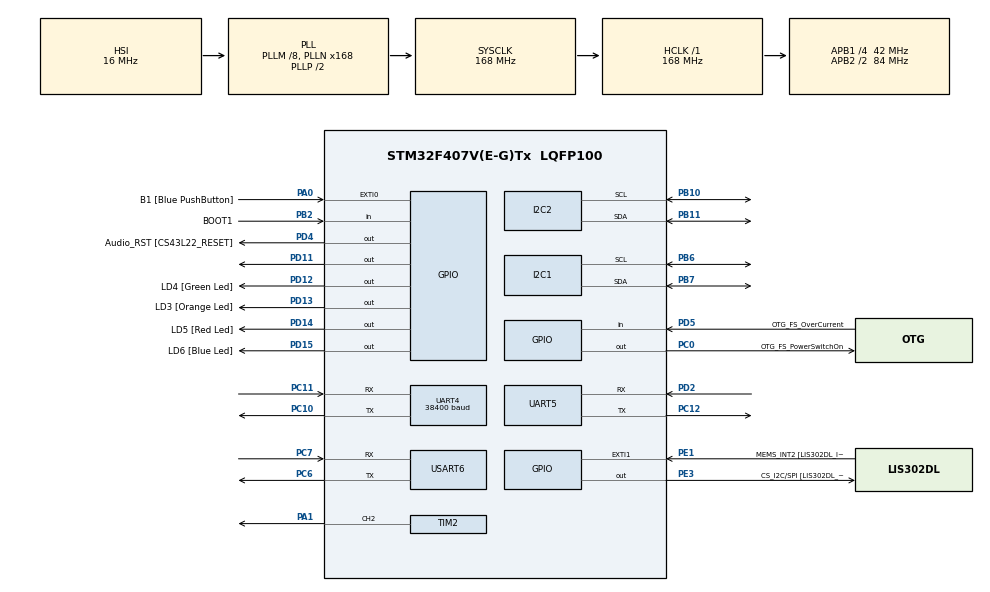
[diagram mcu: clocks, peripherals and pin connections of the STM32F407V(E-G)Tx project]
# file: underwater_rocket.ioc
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Dma.I2C1_RX.0.Direction=DMA_PERIPH_TO_MEMORY
Dma.I2C1_RX.0.FIFOMode=DMA_FIFOMODE_DISABLE
Dma.I2C1_RX.0.Instance=DMA1_Stream5
Dma.I2C1_RX.0.MemDataAlignment=DMA_MDATAALIGN_BYTE
Dma.I2C1_RX.0.MemInc=DMA_MINC_ENABLE
Dma.I2C1_RX.0.Mode=DMA_NORMAL
Dma.I2C1_RX.0.PeriphDataAlignment=DMA_PDATAALIGN_BYTE
Dma.I2C1_RX.0.PeriphInc=DMA_PINC_DISABLE
Dma.I2C1_RX.0.Priority=DMA_PRIORITY_LOW
Dma.I2C1_TX.1.Direction=DMA_MEMORY_TO_PERIPH
Dma.I2C1_TX.1.FIFOMode=DMA_FIFOMODE_DISABLE
Dma.I2C1_TX.1.Instance=DMA1_Stream6
Dma.I2C1_TX.1.MemDataAlignment=DMA_MDATAALIGN_BYTE
Dma.I2C1_TX.1.MemInc=DMA_MINC_ENABLE
Dma.I2C1_TX.1.Mode=DMA_NORMAL
Dma.I2C1_TX.1.PeriphDataAlignment=DMA_PDATAALIGN_BYTE
Dma.I2C1_TX.1.PeriphInc=DMA_PINC_DISABLE
Dma.I2C1_TX.1.Priority=DMA_PRIORITY_LOW
Dma.I2C2_RX.2.Direction=DMA_PERIPH_TO_MEMORY
Dma.I2C2_RX.2.FIFOMode=DMA_FIFOMODE_DISABLE
Dma.I2C2_RX.2.Instance=DMA1_Stream3
Dma.I2C2_RX.2.MemDataAlignment=DMA_MDATAALIGN_BYTE
Dma.I2C2_RX.2.MemInc=DMA_MINC_ENABLE
Dma.I2C2_RX.2.Mode=DMA_NORMAL
Dma.I2C2_RX.2.PeriphDataAlignment=DMA_PDATAALIGN_BYTE
Dma.I2C2_RX.2.PeriphInc=DMA_PINC_DISABLE
Dma.I2C2_RX.2.Priority=DMA_PRIORITY_LOW
Dma.I2C2_TX.3.Direction=DMA_MEMORY_TO_PERIPH
Dma.I2C2_TX.3.FIFOMode=DMA_FIFOMODE_DISABLE
Dma.I2C2_TX.3.Instance=DMA1_Stream7
Dma.I2C2_TX.3.MemDataAlignment=DMA_MDATAALIGN_BYTE
Dma.I2C2_TX.3.MemInc=DMA_MINC_ENABLE
Dma.I2C2_TX.3.Mode=DMA_NORMAL
Dma.I2C2_TX.3.PeriphDataAlignment=DMA_PDATAALIGN_BYTE
Dma.I2C2_TX.3.PeriphInc=DMA_PINC_DISABLE
Dma.I2C2_TX.3.Priority=DMA_PRIORITY_LOW
Dma.Request0=I2C1_RX
Dma.Request1=I2C1_TX
Dma.Request2=I2C2_RX
Dma.Request3=I2C2_TX
Dma.Request4=UART5_RX
Dma.Request5=UART4_TX
Dma.Request6=UART4_RX
Dma.Request7=USART6_RX
Dma.Request8=USART6_TX
Dma.UART4_RX.6.Direction=DMA_PERIPH_TO_MEMORY
Dma.UART4_RX.6.FIFOMode=DMA_FIFOMODE_DISABLE
Dma.UART4_RX.6.Instance=DMA1_Stream2
Dma.UART4_RX.6.MemDataAlignment=DMA_MDATAALIGN_BYTE
Dma.UART4_RX.6.MemInc=DMA_MINC_ENABLE
Dma.UART4_RX.6.Mode=DMA_NORMAL
Dma.UART4_RX.6.PeriphDataAlignment=DMA_PDATAALIGN_BYTE
Dma.UART4_RX.6.PeriphInc=DMA_PINC_DISABLE
Dma.UART4_RX.6.Priority=DMA_PRIORITY_LOW
Dma.UART4_TX.5.Direction=DMA_MEMORY_TO_PERIPH
Dma.UART4_TX.5.FIFOMode=DMA_FIFOMODE_DISABLE
Dma.UART4_TX.5.Instance=DMA1_Stream4
Dma.UART4_TX.5.MemDataAlignment=DMA_MDATAALIGN_BYTE
Dma.UART4_TX.5.MemInc=DMA_MINC_ENABLE
Dma.UART4_TX.5.Mode=DMA_NORMAL
Dma.UART4_TX.5.PeriphDataAlignment=DMA_PDATAALIGN_BYTE
Dma.UART4_TX.5.PeriphInc=DMA_PINC_DISABLE
Dma.UART4_TX.5.Priority=DMA_PRIORITY_LOW
Dma.UART5_RX.4.Direction=DMA_PERIPH_TO_MEMORY
Dma.UART5_RX.4.FIFOMode=DMA_FIFOMODE_DISABLE
Dma.UART5_RX.4.Instance=DMA1_Stream0
Dma.UART5_RX.4.MemDataAlignment=DMA_MDATAALIGN_BYTE
Dma.UART5_RX.4.MemInc=DMA_MINC_ENABLE
Dma.UART5_RX.4.Mode=DMA_NORMAL
Dma.UART5_RX.4.PeriphDataAlignment=DMA_PDATAALIGN_BYTE
Dma.UART5_RX.4.PeriphInc=DMA_PINC_DISABLE
Dma.UART5_RX.4.Priority=DMA_PRIORITY_LOW
Dma.USART6_RX.7.Direction=DMA_PERIPH_TO_MEMORY
Dma.USART6_RX.7.FIFOMode=DMA_FIFOMODE_DISABLE
Dma.USART6_RX.7.Instance=DMA2_Stream1
Dma.USART6_RX.7.MemDataAlignment=DMA_MDATAALIGN_BYTE
Dma.USART6_RX.7.MemInc=DMA_MINC_ENABLE
Dma.USART6_RX.7.Mode=DMA_NORMAL
Dma.USART6_RX.7.PeriphDataAlignment=DMA_PDATAALIGN_BYTE
Dma.USART6_RX.7.PeriphInc=DMA_PINC_DISABLE
Dma.USART6_RX.7.Priority=DMA_PRIORITY_LOW
Dma.USART6_TX.8.Direction=DMA_MEMORY_TO_PERIPH
Dma.USART6_TX.8.FIFOMode=DMA_FIFOMODE_DISABLE
Dma.USART6_TX.8.Instance=DMA2_Stream6
Dma.USART6_TX.8.MemDataAlignment=DMA_MDATAALIGN_BYTE
Dma.USART6_TX.8.MemInc=DMA_MINC_ENABLE
Dma.USART6_TX.8.Mode=DMA_NORMAL
Dma.USART6_TX.8.PeriphDataAlignment=DMA_PDATAALIGN_BYTE
Dma.USART6_TX.8.PeriphInc=DMA_PINC_DISABLE
Dma.USART6_TX.8.Priority=DMA_PRIORITY_LOW
Mcu.Family=STM32F4
Mcu.Name=STM32F407V(E-G)Tx
Mcu.Package=LQFP100
NVIC.DMA1_Stream0_IRQn=true\:10\:0\:true\:false\:true\:false\:true\:true
NVIC.DMA1_Stream2_IRQn=true\:10\:0\:true\:false\:true\:false\:true\:true
NVIC.DMA1_Stream3_IRQn=true\:10\:0\:true\:false\:true\:false\:true\:true
NVIC.DMA1_Stream4_IRQn=true\:10\:0\:true\:false\:true\:false\:true\:true
NVIC.DMA1_Stream5_IRQn=true\:10\:0\:false\:false\:true\:false\:true\:true
NVIC.DMA1_Stream6_IRQn=true\:10\:0\:true\:false\:true\:false\:true\:true
NVIC.DMA1_Stream7_IRQn=true\:10\:0\:true\:false\:true\:false\:true\:true
NVIC.DMA2_Stream1_IRQn=true\:10\:0\:true\:false\:true\:false\:true\:true
NVIC.DMA2_Stream6_IRQn=true\:10\:0\:true\:false\:true\:false\:true\:true
NVIC.I2C1_ER_IRQn=true\:10\:0\:true\:false\:true\:true\:true\:true
NVIC.I2C1_EV_IRQn=true\:10\:0\:true\:false\:true\:true\:true\:true
NVIC.I2C2_ER_IRQn=true\:10\:0\:true\:false\:true\:true\:true\:true
NVIC.I2C2_EV_IRQn=true\:10\:0\:true\:false\:true\:true\:true\:true
NVIC.PriorityGroup=NVIC_PRIORITYGROUP_4
NVIC.TIM6_DAC_IRQn=true\:0\:0\:true\:false\:true\:false\:true\:true
NVIC.TimeBase=TIM6_DAC_IRQn
NVIC.TimeBaseIP=TIM6
NVIC.UART4_IRQn=true\:10\:0\:true\:false\:true\:true\:true\:true
NVIC.UART5_IRQn=true\:10\:0\:true\:false\:true\:true\:true\:true
NVIC.USART6_IRQn=true\:10\:0\:true\:false\:true\:true\:true\:true
PA0-WKUP.GPIO_Label=B1 [Blue PushButton]
PA0-WKUP.Signal=GPXTI0
PA1.Signal=S_TIM2_CH2
PA13.GPIO_Label=SWDIO
PA13.Mode=Trace_Asynchronous_SW
PA13.Signal=SYS_JTMS-SWDIO
PA14.GPIO_Label=SWCLK
PA14.Mode=Trace_Asynchronous_SW
PA14.Signal=SYS_JTCK-SWCLK
PA2.Signal=USART2_TX
PA3.Signal=USART2_RX
PA4.GPIO_Label=I2S3_WS [CS43L22_LRCK]
PA4.GPIO_Mode=GPIO_MODE_AF_PP
PA4.GPIO_PuPd=GPIO_NOPULL
PA4.GPIO_Speed=GPIO_SPEED_FREQ_LOW
PA4.Signal=I2S3_WS
PA5.GPIO_Label=SPI1_SCK [LIS302DL_SCL/SPC]
PA5.GPIO_Mode=GPIO_MODE_AF_PP
PA5.GPIO_PuPd=GPIO_NOPULL
PA5.GPIO_Speed=GPIO_SPEED_FREQ_LOW
PA5.Signal=SPI1_SCK
PA6.GPIO_Label=SPI1_MISO [LIS302DL_SDO]
PA6.GPIO_Mode=GPIO_MODE_AF_PP
PA6.GPIO_PuPd=GPIO_NOPULL
PA6.GPIO_Speed=GPIO_SPEED_FREQ_LOW
PA6.Signal=SPI1_MISO
PA7.GPIO_Label=SPI1_MOSI [LIS302DL_SDA/SDI/SDO]
PA7.GPIO_Mode=GPIO_MODE_AF_PP
PA7.GPIO_PuPd=GPIO_NOPULL
PA7.GPIO_Speed=GPIO_SPEED_FREQ_LOW
PA7.Signal=SPI1_MOSI
PB10.Mode=I2C
PB10.Signal=I2C2_SCL
PB11.Mode=I2C
PB11.Signal=I2C2_SDA
PB2.GPIO_Label=BOOT1
PB2.GPIO_Mode=GPIO_MODE_INPUT
PB2.GPIO_PuPd=GPIO_NOPULL
PB2.Signal=GPIO_Input
PB3.GPIO_Label=SWO
PB3.Mode=Trace_Asynchronous_SW
PB3.Signal=SYS_JTDO-SWO
PB6.GPIO_Pu=GPIO_PULLUP
PB6.Mode=I2C
PB6.Signal=I2C1_SCL
PB7.GPIO_Pu=GPIO_PULLUP
PB7.Mode=I2C
PB7.Signal=I2C1_SDA
PC0.GPIO_Label=OTG_FS_PowerSwitchOn
PC0.GPIO_PuPd=GPIO_NOPULL
PC0.GPIO_Speed=GPIO_SPEED_FREQ_LOW
PC0.PinState=GPIO_PIN_SET
PC0.Signal=GPIO_Output
PC10.GPIO_ModeDefaultPP=GPIO_MODE_AF_OD
PC10.Mode=Asynchronous
PC10.Signal=UART4_TX
PC11.Mode=Asynchronous
PC11.Signal=UART4_RX
PC12.Mode=Asynchronous
PC12.Signal=UART5_TX
PC14-OSC32_IN.GPIO_Label=PC14-OSC32_IN
PC14-OSC32_IN.Signal=RCC_OSC32_IN
PC15-OSC32_OUT.GPIO_Label=PC15-OSC32_OUT
PC15-OSC32_OUT.Signal=RCC_OSC32_OUT
PC3.GPIO_Label=PDM_OUT [MP45DT02_DOUT]
PC3.GPIO_Mode=GPIO_MODE_AF_PP
PC3.GPIO_PuPd=GPIO_NOPULL
PC3.GPIO_Speed=GPIO_SPEED_FREQ_LOW
PC3.Signal=I2S2_SD
PC6.Mode=Asynchronous
PC6.Signal=USART6_TX
PC7.Mode=Asynchronous
PC7.Signal=USART6_RX
PD11.Signal=GPIO_Output
PD12.GPIO_Label=LD4 [Green Led]
PD12.GPIO_PuPd=GPIO_NOPULL
PD12.GPIO_Speed=GPIO_SPEED_FREQ_LOW
PD12.Signal=GPIO_Output
PD13.GPIO_Label=LD3 [Orange Led]
PD13.GPIO_PuPd=GPIO_NOPULL
PD13.GPIO_Speed=GPIO_SPEED_FREQ_LOW
PD13.Signal=GPIO_Output
PD14.GPIO_Label=LD5 [Red Led]
PD14.GPIO_PuPd=GPIO_NOPULL
PD14.GPIO_Speed=GPIO_SPEED_FREQ_LOW
PD14.Signal=GPIO_Output
PD15.GPIO_Label=LD6 [Blue Led]
PD15.GPIO_PuPd=GPIO_NOPULL
PD15.GPIO_Speed=GPIO_SPEED_FREQ_LOW
PD15.Signal=GPIO_Output
PD2.Mode=Asynchronous
PD2.Signal=UART5_RX
PD4.GPIO_Label=Audio_RST [CS43L22_RESET]
PD4.GPIO_PuPd=GPIO_NOPULL
PD4.GPIO_Speed=GPIO_SPEED_FREQ_LOW
PD4.Signal=GPIO_Output
PD5.GPIO_Label=OTG_FS_OverCurrent
PD5.GPIO_Mode=GPIO_MODE_INPUT
PD5.GPIO_PuPd=GPIO_NOPULL
PD5.Signal=GPIO_Input
PE1.GPIO_Label=MEMS_INT2 [LIS302DL_INT2]
PE1.GPIO_ModeDefaultEXTI=GPIO_MODE_EVT_RISING
PE1.GPIO_PuPd=GPIO_NOPULL
PE1.Signal=GPXTI1
PE3.GPIO_Label=CS_I2C/SPI [LIS302DL_CS_I2C/SPI]
PE3.GPIO_PuPd=GPIO_NOPULL
PE3.GPIO_Speed=GPIO_SPEED_FREQ_LOW
PE3.Signal=GPIO_Output
PH0-OSC_IN.GPIO_Label=PH0-OSC_IN
PH0-OSC_IN.Signal=RCC_OSC_IN
PH1-OSC_OUT.GPIO_Label=PH1-OSC_OUT
PH1-OSC_OUT.Signal=RCC_OSC_OUT
ProjectManager.HeapSize=0x200
ProjectManager.StackSize=0x400
ProjectManager.TargetToolchain=STM32CubeIDE
RCC.48MHZClocksFreq_Value=48000000
RCC.AHBFreq_Value=168000000
RCC.APB1CLKDivider=RCC_HCLK_DIV4
RCC.APB1Freq_Value=42000000
RCC.APB1TimFreq_Value=84000000
RCC.APB2CLKDivider=RCC_HCLK_DIV2
RCC.APB2Freq_Value=84000000
RCC.APB2TimFreq_Value=168000000
RCC.CortexFreq_Value=168000000
RCC.HCLKFreq_Value=168000000
RCC.HSE_VALUE=8000000
RCC.HSI_VALUE=16000000
RCC.LSE_VALUE=32768
RCC.PLLM=8
RCC.PLLN=168
RCC.PLLQ=7
RCC.SYSCLKFreq_VALUE=168000000
RCC.SYSCLKSource=RCC_SYSCLKSOURCE_PLLCLK
RCC.VCOOutputFreq_Value=336000000
SH.S_TIM2_CH2.0=TIM2_CH2,PWM Generation2 CH2
TIM2.AutoReloadPreload=TIM_AUTORELOAD_PRELOAD_ENABLE
TIM2.Channel-PWM\ Generation2\ CH2=TIM_CHANNEL_2
TIM2.Period=20000 - 1
TIM2.Prescaler=84 - 1
UART4.BaudRate=38400
UART4.Mode=MODE_TX_RX
UART4.VirtualMode=Asynchronous
UART5.VirtualMode=Asynchronous
USART6.Parity=PARITY_EVEN
USART6.VirtualMode=VM_ASYNC
USART6.WordLength=WORDLENGTH_9B
VP_SYS_VS_tim6.Mode=TIM6
VP_TIM2_VS_ClockSourceINT.Mode=Internal
board=STM32F407G-DISC1

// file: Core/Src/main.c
/* USER CODE BEGIN Header */
/**
  ******************************************************************************
  * @file           : main.c
  * @brief          : Main program body
  ******************************************************************************
  * @attention
  *
  * <h2><center>&copy; Copyright (c) 2021 STMicroelectronics.
  * All rights reserved.</center></h2>
  *
  * This software component is licensed by ST under BSD 3-Clause license,
  * the "License"; You may not use this file except in compliance with the
  * License. You may obtain a copy of the License at:
  *                        opensource.org/licenses/BSD-3-Clause
  *
  ******************************************************************************
  */
/* USER CODE END Header */
#include "main.h"

/* USER CODE BEGIN Includes */
#include <stdio.h>
#include <stdlib.h>
#include "FreeRTOS.h"
#include "task.h"
#include "semphr.h"
#include "string.h"
#include "maestro.h"
#include "tasks_config.h"
/* USER CODE END Includes */

I2C_HandleTypeDef hi2c1;
I2C_HandleTypeDef hi2c2;
DMA_HandleTypeDef hdma_i2c1_rx;
DMA_HandleTypeDef hdma_i2c1_tx;
DMA_HandleTypeDef hdma_i2c2_rx;
DMA_HandleTypeDef hdma_i2c2_tx;

TIM_HandleTypeDef htim2;

UART_HandleTypeDef huart4;
UART_HandleTypeDef huart5;
UART_HandleTypeDef huart6;
DMA_HandleTypeDef hdma_uart4_tx;
DMA_HandleTypeDef hdma_uart4_rx;
DMA_HandleTypeDef hdma_uart5_rx;
DMA_HandleTypeDef hdma_usart6_rx;
DMA_HandleTypeDef hdma_usart6_tx;

/* USER CODE BEGIN PV */
#define DWT_CTRL    (*(volatile uint32_t*)0xE0001000)
/* USER CODE END PV */

void SystemClock_Config(void);
static void MX_GPIO_Init(void);
static void MX_DMA_Init(void);
static void MX_I2C1_Init(void);
static void MX_UART4_Init(void);
static void MX_I2C2_Init(void);
static void MX_UART5_Init(void);
static void MX_TIM2_Init(void);
static void MX_USART6_UART_Init(void);
/* USER CODE BEGIN PFP */

extern void Callback_BNO_DMA_Rx();
extern void MS5837_DMA_Callback();
extern void Maestro_CallBack();
extern void SEGGER_UART_init(uint32_t);
extern void CommRx_CallBack();
extern void CommTx_CallBack();

/* USER CODE END PFP */

int main(void)
{

  /* MCU Configuration--------------------------------------------------------*/

  /* Reset of all peripherals, Initializes the Flash interface and the Systick. */
  HAL_Init();

  /* USER CODE BEGIN Init */
  HAL_NVIC_SetPriorityGrouping(NVIC_PRIORITYGROUP_4);
  /* USER CODE END Init */

  /* Configure the system clock */
  SystemClock_Config();

  /* Initialize all configured peripherals */
  MX_GPIO_Init();
  MX_DMA_Init();
  MX_I2C1_Init();
  MX_UART4_Init();
  MX_I2C2_Init();
  MX_UART5_Init();
  MX_TIM2_Init();
  MX_USART6_UART_Init();
  /* USER CODE BEGIN 2 */
  HAL_NVIC_SetPriority(DMA2_Stream7_IRQn, 10, 0);

  //Enable the CYCCNT counter.
  DWT_CTRL |= ( 1 << 0);
 SEGGER_UART_init(500000);
 SEGGER_SYSVIEW_Conf();

 System_Tasks_Init();
  //if the control comes here, then the launch of the scheduler hasA failed due to
  //insufficient memory in heap

  HAL_GPIO_WritePin(GPIOD, GPIO_PIN_12, GPIO_PIN_SET);
  HAL_GPIO_WritePin(GPIOD, GPIO_PIN_13, GPIO_PIN_SET);
  HAL_GPIO_WritePin(GPIOD, GPIO_PIN_14, GPIO_PIN_SET);

  /* USER CODE END 2 */

  /* Infinite loop */
  while (1)
  {

  }
}

void SystemClock_Config(void)
{
  RCC_OscInitTypeDef RCC_OscInitStruct = {0};
  RCC_ClkInitTypeDef RCC_ClkInitStruct = {0};

  /** Configure the main internal regulator output voltage
  */
  __HAL_RCC_PWR_CLK_ENABLE();
  __HAL_PWR_VOLTAGESCALING_CONFIG(PWR_REGULATOR_VOLTAGE_SCALE1);

  /** Initializes the RCC Oscillators according to the specified parameters
  * in the RCC_OscInitTypeDef structure.
  */
  RCC_OscInitStruct.OscillatorType = RCC_OSCILLATORTYPE_HSI;
  RCC_OscInitStruct.HSIState = RCC_HSI_ON;
  RCC_OscInitStruct.HSICalibrationValue = RCC_HSICALIBRATION_DEFAULT;
  RCC_OscInitStruct.PLL.PLLState = RCC_PLL_ON;
  RCC_OscInitStruct.PLL.PLLSource = RCC_PLLSOURCE_HSI;
  RCC_OscInitStruct.PLL.PLLM = 8;
  RCC_OscInitStruct.PLL.PLLN = 168;
  RCC_OscInitStruct.PLL.PLLP = RCC_PLLP_DIV2;
  RCC_OscInitStruct.PLL.PLLQ = 7;
  if (HAL_RCC_OscConfig(&RCC_OscInitStruct) != HAL_OK)
  {
    Error_Handler();
  }

  /** Initializes the CPU, AHB and APB buses clocks
  */
  RCC_ClkInitStruct.ClockType = RCC_CLOCKTYPE_HCLK|RCC_CLOCKTYPE_SYSCLK
                              |RCC_CLOCKTYPE_PCLK1|RCC_CLOCKTYPE_PCLK2;
  RCC_ClkInitStruct.SYSCLKSource = RCC_SYSCLKSOURCE_PLLCLK;
  RCC_ClkInitStruct.AHBCLKDivider = RCC_SYSCLK_DIV1;
  RCC_ClkInitStruct.APB1CLKDivider = RCC_HCLK_DIV4;
  RCC_ClkInitStruct.APB2CLKDivider = RCC_HCLK_DIV2;

  if (HAL_RCC_ClockConfig(&RCC_ClkInitStruct, FLASH_LATENCY_5) != HAL_OK)
  {
    Error_Handler();
  }
}

static void MX_I2C1_Init(void)
{

  hi2c1.Instance = I2C1;
  hi2c1.Init.ClockSpeed = 100000;
  hi2c1.Init.DutyCycle = I2C_DUTYCYCLE_2;
  hi2c1.Init.OwnAddress1 = 0;
  hi2c1.Init.AddressingMode = I2C_ADDRESSINGMODE_7BIT;
  hi2c1.Init.DualAddressMode = I2C_DUALADDRESS_DISABLE;
  hi2c1.Init.OwnAddress2 = 0;
  hi2c1.Init.GeneralCallMode = I2C_GENERALCALL_DISABLE;
  hi2c1.Init.NoStretchMode = I2C_NOSTRETCH_DISABLE;
  if (HAL_I2C_Init(&hi2c1) != HAL_OK)
  {
    Error_Handler();
  }

}

static void MX_I2C2_Init(void)
{

  hi2c2.Instance = I2C2;
  hi2c2.Init.ClockSpeed = 100000;
  hi2c2.Init.DutyCycle = I2C_DUTYCYCLE_2;
  hi2c2.Init.OwnAddress1 = 0;
  hi2c2.Init.AddressingMode = I2C_ADDRESSINGMODE_7BIT;
  hi2c2.Init.DualAddressMode = I2C_DUALADDRESS_DISABLE;
  hi2c2.Init.OwnAddress2 = 0;
  hi2c2.Init.GeneralCallMode = I2C_GENERALCALL_DISABLE;
  hi2c2.Init.NoStretchMode = I2C_NOSTRETCH_DISABLE;
  if (HAL_I2C_Init(&hi2c2) != HAL_OK)
  {
    Error_Handler();
  }

}

static void MX_TIM2_Init(void)
{

  TIM_ClockConfigTypeDef sClockSourceConfig = {0};
  TIM_MasterConfigTypeDef sMasterConfig = {0};
  TIM_OC_InitTypeDef sConfigOC = {0};

  htim2.Instance = TIM2;
  htim2.Init.Prescaler = 84 - 1;
  htim2.Init.CounterMode = TIM_COUNTERMODE_UP;
  htim2.Init.Period = 20000 - 1;
  htim2.Init.ClockDivision = TIM_CLOCKDIVISION_DIV1;
  htim2.Init.AutoReloadPreload = TIM_AUTORELOAD_PRELOAD_ENABLE;
  if (HAL_TIM_Base_Init(&htim2) != HAL_OK)
  {
    Error_Handler();
  }
  sClockSourceConfig.ClockSource = TIM_CLOCKSOURCE_INTERNAL;
  if (HAL_TIM_ConfigClockSource(&htim2, &sClockSourceConfig) != HAL_OK)
  {
    Error_Handler();
  }
  if (HAL_TIM_PWM_Init(&htim2) != HAL_OK)
  {
    Error_Handler();
  }
  sMasterConfig.MasterOutputTrigger = TIM_TRGO_RESET;
  sMasterConfig.MasterSlaveMode = TIM_MASTERSLAVEMODE_DISABLE;
  if (HAL_TIMEx_MasterConfigSynchronization(&htim2, &sMasterConfig) != HAL_OK)
  {
    Error_Handler();
  }
  sConfigOC.OCMode = TIM_OCMODE_PWM1;
  sConfigOC.Pulse = 0;
  sConfigOC.OCPolarity = TIM_OCPOLARITY_HIGH;
  sConfigOC.OCFastMode = TIM_OCFAST_DISABLE;
  if (HAL_TIM_PWM_ConfigChannel(&htim2, &sConfigOC, TIM_CHANNEL_2) != HAL_OK)
  {
    Error_Handler();
  }
  HAL_TIM_MspPostInit(&htim2);

}

static void MX_UART4_Init(void)
{

  huart4.Instance = UART4;
  huart4.Init.BaudRate = 38400;
  huart4.Init.WordLength = UART_WORDLENGTH_8B;
  huart4.Init.StopBits = UART_STOPBITS_1;
  huart4.Init.Parity = UART_PARITY_NONE;
  huart4.Init.Mode = UART_MODE_TX_RX;
  huart4.Init.HwFlowCtl = UART_HWCONTROL_NONE;
  huart4.Init.OverSampling = UART_OVERSAMPLING_16;
  if (HAL_UART_Init(&huart4) != HAL_OK)
  {
    Error_Handler();
  }

}

static void MX_UART5_Init(void)
{

  huart5.Instance = UART5;
  huart5.Init.BaudRate = 115200;
  huart5.Init.WordLength = UART_WORDLENGTH_8B;
  huart5.Init.StopBits = UART_STOPBITS_1;
  huart5.Init.Parity = UART_PARITY_NONE;
  huart5.Init.Mode = UART_MODE_TX_RX;
  huart5.Init.HwFlowCtl = UART_HWCONTROL_NONE;
  huart5.Init.OverSampling = UART_OVERSAMPLING_16;
  if (HAL_UART_Init(&huart5) != HAL_OK)
  {
    Error_Handler();
  }

}

static void MX_USART6_UART_Init(void)
{

  huart6.Instance = USART6;
  huart6.Init.BaudRate = 115200;
  huart6.Init.WordLength = UART_WORDLENGTH_9B;
  huart6.Init.StopBits = UART_STOPBITS_1;
  huart6.Init.Parity = UART_PARITY_EVEN;
  huart6.Init.Mode = UART_MODE_TX_RX;
  huart6.Init.HwFlowCtl = UART_HWCONTROL_NONE;
  huart6.Init.OverSampling = UART_OVERSAMPLING_16;
  if (HAL_UART_Init(&huart6) != HAL_OK)
  {
    Error_Handler();
  }

}

static void MX_DMA_Init(void)
{

  /* DMA controller clock enable */
  __HAL_RCC_DMA1_CLK_ENABLE();
  __HAL_RCC_DMA2_CLK_ENABLE();

  /* DMA interrupt init */
  /* DMA1_Stream0_IRQn interrupt configuration */
  HAL_NVIC_SetPriority(DMA1_Stream0_IRQn, 10, 0);
  HAL_NVIC_EnableIRQ(DMA1_Stream0_IRQn);
  /* DMA1_Stream2_IRQn interrupt configuration */
  HAL_NVIC_SetPriority(DMA1_Stream2_IRQn, 10, 0);
  HAL_NVIC_EnableIRQ(DMA1_Stream2_IRQn);
  /* DMA1_Stream3_IRQn interrupt configuration */
  HAL_NVIC_SetPriority(DMA1_Stream3_IRQn, 10, 0);
  HAL_NVIC_EnableIRQ(DMA1_Stream3_IRQn);
  /* DMA1_Stream4_IRQn interrupt configuration */
  HAL_NVIC_SetPriority(DMA1_Stream4_IRQn, 10, 0);
  HAL_NVIC_EnableIRQ(DMA1_Stream4_IRQn);
  /* DMA1_Stream5_IRQn interrupt configuration */
  HAL_NVIC_SetPriority(DMA1_Stream5_IRQn, 10, 0);
  HAL_NVIC_EnableIRQ(DMA1_Stream5_IRQn);
  /* DMA1_Stream6_IRQn interrupt configuration */
  HAL_NVIC_SetPriority(DMA1_Stream6_IRQn, 10, 0);
  HAL_NVIC_EnableIRQ(DMA1_Stream6_IRQn);
  /* DMA1_Stream7_IRQn interrupt configuration */
  HAL_NVIC_SetPriority(DMA1_Stream7_IRQn, 10, 0);
  HAL_NVIC_EnableIRQ(DMA1_Stream7_IRQn);
  /* DMA2_Stream1_IRQn interrupt configuration */
  HAL_NVIC_SetPriority(DMA2_Stream1_IRQn, 10, 0);
  HAL_NVIC_EnableIRQ(DMA2_Stream1_IRQn);
  /* DMA2_Stream6_IRQn interrupt configuration */
  HAL_NVIC_SetPriority(DMA2_Stream6_IRQn, 10, 0);
  HAL_NVIC_EnableIRQ(DMA2_Stream6_IRQn);

}

static void MX_GPIO_Init(void)
{
  GPIO_InitTypeDef GPIO_InitStruct = {0};

  /* GPIO Ports Clock Enable */
  __HAL_RCC_GPIOE_CLK_ENABLE();
  __HAL_RCC_GPIOC_CLK_ENABLE();
  __HAL_RCC_GPIOH_CLK_ENABLE();
  __HAL_RCC_GPIOA_CLK_ENABLE();
  __HAL_RCC_GPIOB_CLK_ENABLE();
  __HAL_RCC_GPIOD_CLK_ENABLE();

  /*Configure GPIO pin Output Level */
  HAL_GPIO_WritePin(CS_I2C_SPI_GPIO_Port, CS_I2C_SPI_Pin, GPIO_PIN_RESET);

  /*Configure GPIO pin Output Level */
  HAL_GPIO_WritePin(OTG_FS_PowerSwitchOn_GPIO_Port, OTG_FS_PowerSwitchOn_Pin, GPIO_PIN_SET);

  /*Configure GPIO pin Output Level */
  HAL_GPIO_WritePin(GPIOD, GPIO_PIN_11|LD4_Pin|LD3_Pin|LD5_Pin
                          |LD6_Pin|Audio_RST_Pin, GPIO_PIN_RESET);

  /*Configure GPIO pin : CS_I2C_SPI_Pin */
  GPIO_InitStruct.Pin = CS_I2C_SPI_Pin;
  GPIO_InitStruct.Mode = GPIO_MODE_OUTPUT_PP;
  GPIO_InitStruct.Pull = GPIO_NOPULL;
  GPIO_InitStruct.Speed = GPIO_SPEED_FREQ_LOW;
  HAL_GPIO_Init(CS_I2C_SPI_GPIO_Port, &GPIO_InitStruct);

  /*Configure GPIO pin : OTG_FS_PowerSwitchOn_Pin */
  GPIO_InitStruct.Pin = OTG_FS_PowerSwitchOn_Pin;
  GPIO_InitStruct.Mode = GPIO_MODE_OUTPUT_PP;
  GPIO_InitStruct.Pull = GPIO_NOPULL;
  GPIO_InitStruct.Speed = GPIO_SPEED_FREQ_LOW;
  HAL_GPIO_Init(OTG_FS_PowerSwitchOn_GPIO_Port, &GPIO_InitStruct);

  /*Configure GPIO pin : PDM_OUT_Pin */
  GPIO_InitStruct.Pin = PDM_OUT_Pin;
  GPIO_InitStruct.Mode = GPIO_MODE_AF_PP;
  GPIO_InitStruct.Pull = GPIO_NOPULL;
  GPIO_InitStruct.Speed = GPIO_SPEED_FREQ_LOW;
  GPIO_InitStruct.Alternate = GPIO_AF5_SPI2;
  HAL_GPIO_Init(PDM_OUT_GPIO_Port, &GPIO_InitStruct);

  /*Configure GPIO pin : B1_Pin */
  GPIO_InitStruct.Pin = B1_Pin;
  GPIO_InitStruct.Mode = GPIO_MODE_IT_RISING;
  GPIO_InitStruct.Pull = GPIO_NOPULL;
  HAL_GPIO_Init(B1_GPIO_Port, &GPIO_InitStruct);

  /*Configure GPIO pins : PA2 PA3 */
  GPIO_InitStruct.Pin = GPIO_PIN_2|GPIO_PIN_3;
  GPIO_InitStruct.Mode = GPIO_MODE_AF_PP;
  GPIO_InitStruct.Pull = GPIO_NOPULL;
  GPIO_InitStruct.Speed = GPIO_SPEED_FREQ_VERY_HIGH;
  GPIO_InitStruct.Alternate = GPIO_AF7_USART2;
  HAL_GPIO_Init(GPIOA, &GPIO_InitStruct);

  /*Configure GPIO pin : I2S3_WS_Pin */
  GPIO_InitStruct.Pin = I2S3_WS_Pin;
  GPIO_InitStruct.Mode = GPIO_MODE_AF_PP;
  GPIO_InitStruct.Pull = GPIO_NOPULL;
  GPIO_InitStruct.Speed = GPIO_SPEED_FREQ_LOW;
  GPIO_InitStruct.Alternate = GPIO_AF6_SPI3;
  HAL_GPIO_Init(I2S3_WS_GPIO_Port, &GPIO_InitStruct);

  /*Configure GPIO pins : SPI1_SCK_Pin SPI1_MISO_Pin SPI1_MOSI_Pin */
  GPIO_InitStruct.Pin = SPI1_SCK_Pin|SPI1_MISO_Pin|SPI1_MOSI_Pin;
  GPIO_InitStruct.Mode = GPIO_MODE_AF_PP;
  GPIO_InitStruct.Pull = GPIO_NOPULL;
  GPIO_InitStruct.Speed = GPIO_SPEED_FREQ_LOW;
  GPIO_InitStruct.Alternate = GPIO_AF5_SPI1;
  HAL_GPIO_Init(GPIOA, &GPIO_InitStruct);

  /*Configure GPIO pin : BOOT1_Pin */
  GPIO_InitStruct.Pin = BOOT1_Pin;
  GPIO_InitStruct.Mode = GPIO_MODE_INPUT;
  GPIO_InitStruct.Pull = GPIO_NOPULL;
  HAL_GPIO_Init(BOOT1_GPIO_Port, &GPIO_InitStruct);

  /*Configure GPIO pins : PD11 LD4_Pin LD3_Pin LD5_Pin
                           LD6_Pin Audio_RST_Pin */
  GPIO_InitStruct.Pin = GPIO_PIN_11|LD4_Pin|LD3_Pin|LD5_Pin
                          |LD6_Pin|Audio_RST_Pin;
  GPIO_InitStruct.Mode = GPIO_MODE_OUTPUT_PP;
  GPIO_InitStruct.Pull = GPIO_NOPULL;
  GPIO_InitStruct.Speed = GPIO_SPEED_FREQ_LOW;
  HAL_GPIO_Init(GPIOD, &GPIO_InitStruct);

  /*Configure GPIO pin : OTG_FS_OverCurrent_Pin */
  GPIO_InitStruct.Pin = OTG_FS_OverCurrent_Pin;
  GPIO_InitStruct.Mode = GPIO_MODE_INPUT;
  GPIO_InitStruct.Pull = GPIO_NOPULL;
  HAL_GPIO_Init(OTG_FS_OverCurrent_GPIO_Port, &GPIO_InitStruct);

  /*Configure GPIO pin : MEMS_INT2_Pin */
  GPIO_InitStruct.Pin = MEMS_INT2_Pin;
  GPIO_InitStruct.Mode = GPIO_MODE_EVT_RISING;
  GPIO_InitStruct.Pull = GPIO_NOPULL;
  HAL_GPIO_Init(MEMS_INT2_GPIO_Port, &GPIO_InitStruct);

}

/* USER CODE BEGIN 4 */

/* USER CODE BEGIN 4 */
/* USER CODE BEGIN 4 */

void HAL_I2C_MasterRxCpltCallback(I2C_HandleTypeDef *hi2c)
{
    if(hi2c->Instance == I2C1) // MS5837
    {
        MS5837_DMA_Callback();
    }

}

void HAL_I2C_MemRxCpltCallback(I2C_HandleTypeDef *hi2c)
{
    if(hi2c->Instance == I2C2) // Veya hi2c == &hi2c2
    {
        Callback_BNO_DMA_Rx();
    }
}

void HAL_I2C_MasterTxCpltCallback(I2C_HandleTypeDef *hi2c)
{
    if(hi2c->Instance == I2C1) // MS5837
    {
        MS5837_DMA_Callback();
    }
}

void HAL_UART_TxCpltCallback(UART_HandleTypeDef *huart)
{
    if(huart->Instance == huart4.Instance)
    {
      Maestro_CallBack();

    }
    else if(huart->Instance == huart6.Instance)
    {

      CommTx_CallBack();
    }

}

void HAL_UART_RxCpltCallback(UART_HandleTypeDef *huart)
{
   if(huart->Instance == huart6.Instance)
   {
     CommRx_CallBack();
   }
}

void vApplicationMallocFailedHook(void) {

    __disable_irq();
    while(1);
}
/* USER CODE END 4 */

void HAL_TIM_PeriodElapsedCallback(TIM_HandleTypeDef *htim)
{
  if (htim->Instance == TIM6)
  {
    HAL_IncTick();
  }
}

void Error_Handler(void)
{
}
